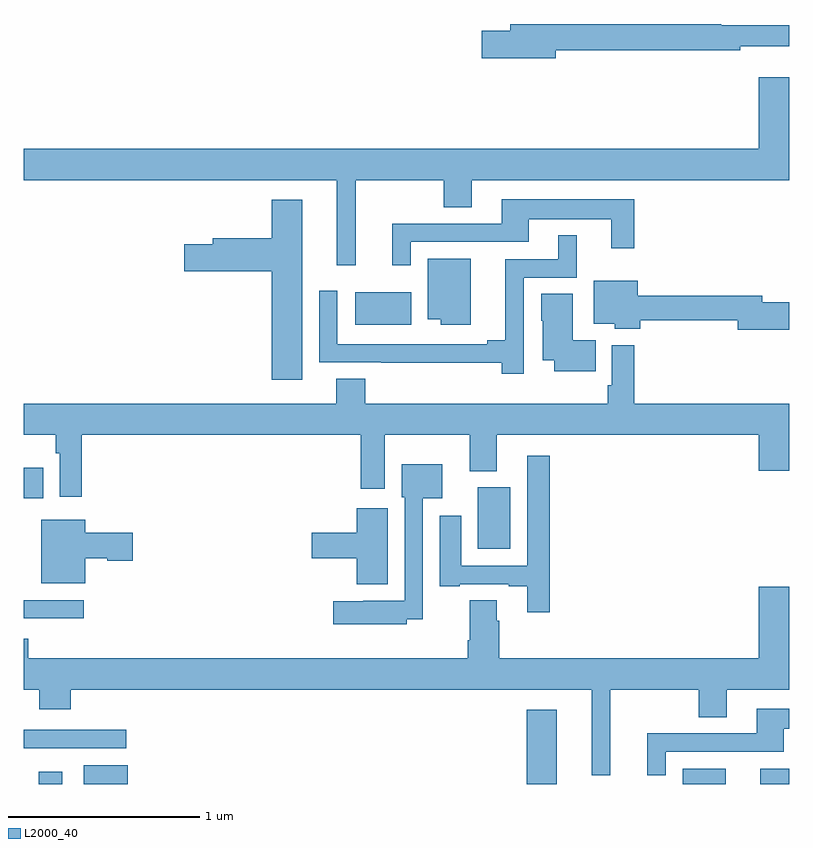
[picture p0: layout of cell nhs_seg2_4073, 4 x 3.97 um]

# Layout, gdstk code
import gdstk
lib = gdstk.Library(unit=1e-6, precision=1e-09)
def R(c, l, rs):  # rectangles x0, y0, x1, y1
    for r in rs: c.add(gdstk.rectangle(r[:2], r[2:], *l))
def P(c, l, *ps):  # polygons
    for p in ps: c.add(gdstk.Polygon(p, *l))
L2000_40 = (2000, 40)

nhs_seg2_4073 = lib.new_cell('nhs_seg2_4073')
R(nhs_seg2_4073, L2000_40, [(329.078,657.8,329.2,657.865), (329.312,657.8,329.542,657.898), (331.628,657.8,331.786,658.189), (332.444,657.8,332.668,657.88), (332.849,657.8,333,657.879), (329,657.987,329.536,658.083), (329,658.665,329.314,658.761), (331.373,659.03,331.543,659.35), (329,659.294,329.102,659.452), (330.731,660.2,331.024,660.37)])
P(nhs_seg2_4073, L2000_40, [(331.78,661.636),(332.744,661.636),(332.744,661.655),(333,661.655),(333,661.765),(332.645,661.765),(332.645,661.772),(331.541,661.772),(331.541,661.736),(331.392,661.736),(331.392,661.594),(331.78,661.594)],
  [(330.734,660.956),(331.195,660.956),(331.195,660.814),(331.342,660.814),(331.342,660.956),(333,660.956),(333,661.495),(332.84,661.495),(332.84,661.12),(329,661.12),(329,660.956),(330.635,660.956),(330.635,660.51),(330.734,660.51)],
  [(331.023,660.633),(331.639,660.633),(331.639,660.752),(332.069,660.752),(332.069,660.6),(332.191,660.6),(332.191,660.856),(331.499,660.856),(331.499,660.729),(330.926,660.729),(330.926,660.51),(331.023,660.51)],
  [(330.454,660.853),(330.296,660.853),(330.296,660.651),(329.987,660.651),(329.987,660.621),(329.838,660.621),(329.838,660.479),(330.296,660.479),(330.296,659.913),(330.454,659.913)],
  [(331.614,660.447),(331.891,660.447),(331.891,660.667),(331.793,660.667),(331.793,660.543),(331.517,660.543),(331.517,660.119),(331.421,660.119),(331.421,660.099),(330.639,660.099),(330.639,660.379),(330.543,660.379),(330.543,660.003),(330.868,660.003),(330.868,660.002),(331.498,660.002),(331.498,659.943),(331.614,659.943)],
  [(331.336,660.544),(331.112,660.544),(331.112,660.23),(331.178,660.23),(331.178,660.2),(331.336,660.2)],
  [(333,660.317),(332.86,660.317),(332.86,660.353),(332.209,660.353),(332.209,660.43),(331.979,660.43),(331.979,660.206),(332.088,660.206),(332.088,660.179),(332.222,660.179),(332.222,660.225),(332.732,660.225),(332.732,660.175),(333,660.175)],
  [(331.988,660.118),(331.87,660.118),(331.87,660.362),(331.703,660.362),(331.703,660.222),(331.712,660.222),(331.712,660.014),(331.772,660.014),(331.772,659.957),(331.988,659.957)],
  [(329.303,659.624),(330.761,659.624),(330.761,659.343),(330.886,659.343),(330.886,659.624),(331.331,659.624),(331.331,659.435),(331.471,659.435),(331.471,659.624),(332.84,659.624),(332.84,659.436),(333,659.436),(333,659.788),(332.189,659.788),(332.189,660.094),(332.073,660.094),(332.073,659.884),(332.053,659.884),(332.053,659.788),(330.785,659.788),(330.785,659.918),(330.632,659.918),(330.632,659.788),(329,659.788),(329,659.624),(329.167,659.624),(329.167,659.528),(329.187,659.528),(329.187,659.301),(329.303,659.301)],
  [(331.748,659.515),(331.632,659.515),(331.632,658.941),(331.285,658.941),(331.285,659.203),(331.175,659.203),(331.175,658.833),(331.279,658.833),(331.279,658.845),(331.535,658.845),(331.535,658.833),(331.631,658.833),(331.631,658.698),(331.748,658.698)],
  [(331.002,658.661),(331.086,658.661),(331.086,659.294),(331.186,659.294),(331.186,659.47),(330.974,659.47),(330.974,659.298),(330.99,659.298),(330.99,658.758),(330.774,658.758),(330.774,658.756),(330.618,658.756),(330.618,658.634),(331.002,658.634)],
  [(330.901,659.242),(330.74,659.242),(330.74,659.114),(330.504,659.114),(330.504,658.979),(330.74,658.979),(330.74,658.844),(330.901,658.844)],
  [(329.32,658.979),(329.436,658.979),(329.436,658.967),(329.569,658.967),(329.569,659.114),(329.32,659.114),(329.32,659.182),(329.09,659.182),(329.09,658.85),(329.32,658.85)],
  [(329,658.558),(329,658.292),(329.081,658.292),(329.081,658.19),(329.246,658.19),(329.246,658.292),(331.967,658.292),(331.967,657.846),(332.066,657.846),(332.066,658.292),(332.527,658.292),(332.527,658.15),(332.674,658.15),(332.674,658.292),(333,658.292),(333,658.831),(332.84,658.831),(332.84,658.456),(331.484,658.456),(331.484,658.652),(331.471,658.652),(331.471,658.76),(331.331,658.76),(331.331,658.552),(331.319,658.552),(331.319,658.456),(329.024,658.456),(329.024,658.558)],
  [(332.355,657.969),(332.971,657.969),(332.971,658.088),(333,658.088),(333,658.192),(332.831,658.192),(332.831,658.065),(332.258,658.065),(332.258,657.846),(332.355,657.846)])

lib.write_gds('nhs_seg2_4073.gds')
